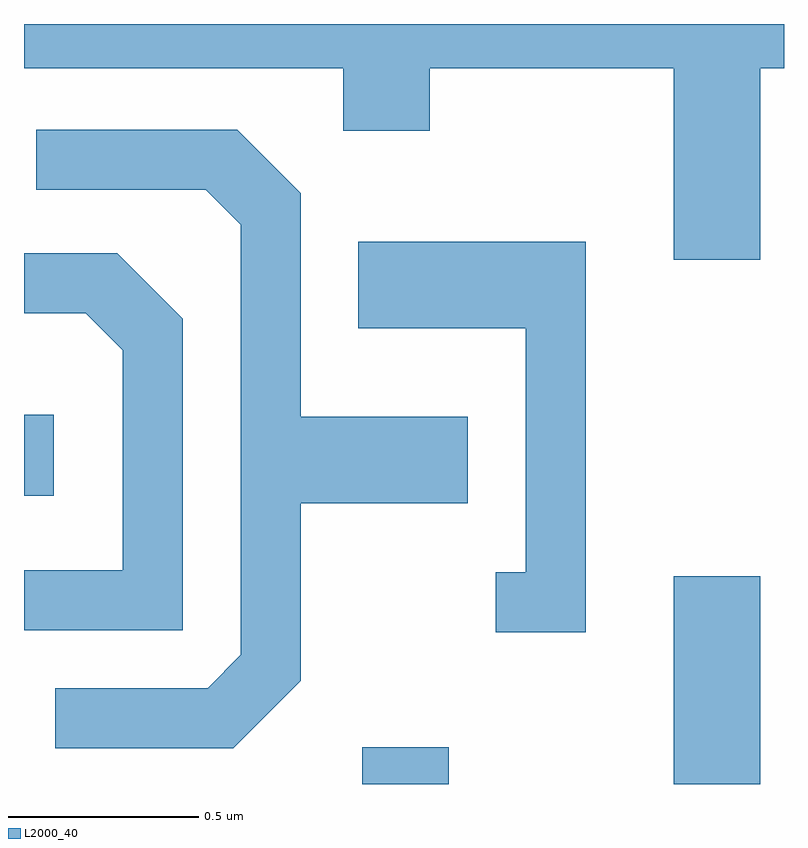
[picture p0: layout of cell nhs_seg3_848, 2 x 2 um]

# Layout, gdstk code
import gdstk
lib = gdstk.Library(unit=1e-6, precision=1e-09)
def R(c, l, rs):  # rectangles x0, y0, x1, y1
    for r in rs: c.add(gdstk.rectangle(r[:2], r[2:], *l))
def P(c, l, *ps):  # polygons
    for p in ps: c.add(gdstk.Polygon(p, *l))
L2000_40 = (2000, 40)

nhs_seg3_848 = lib.new_cell('nhs_seg3_848')
R(nhs_seg3_848, L2000_40, [(192.501,1141.892,192.729,1141.989), (193.321,1141.892,193.549,1142.439), (191.611,1142.651,191.689,1142.864)])
P(nhs_seg3_848, L2000_40, [(193.549,1143.776),(193.611,1143.776),(193.611,1143.892),(191.611,1143.892),(191.611,1143.776),(192.451,1143.776),(192.451,1143.611),(192.679,1143.611),(192.679,1143.776),(193.321,1143.776),(193.321,1143.271),(193.549,1143.271)],
  [(192.339,1142.164),(192.339,1142.631),(192.779,1142.631),(192.779,1142.859),(192.339,1142.859),(192.339,1143.447),(192.172,1143.614),(191.643,1143.614),(191.643,1143.456),(192.089,1143.456),(192.181,1143.364),(192.181,1142.232),(192.094,1142.144),(191.693,1142.144),(191.693,1141.986),(192.162,1141.986)],
  [(193.089,1143.319),(192.491,1143.319),(192.491,1143.091),(192.931,1143.091),(192.931,1142.449),(192.853,1142.449),(192.853,1142.291),(193.089,1142.291)],
  [(192.029,1143.117),(191.857,1143.289),(191.611,1143.289),(191.611,1143.131),(191.774,1143.131),(191.871,1143.034),(191.871,1142.454),(191.611,1142.454),(191.611,1142.296),(192.029,1142.296)])

lib.write_gds('nhs_seg3_848.gds')
